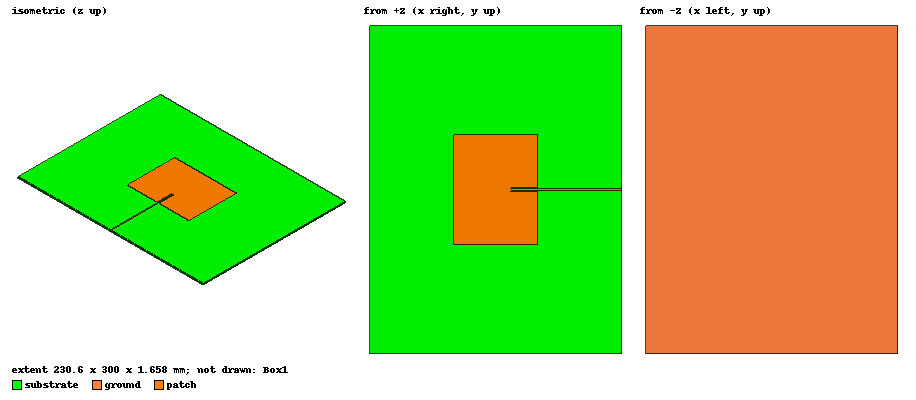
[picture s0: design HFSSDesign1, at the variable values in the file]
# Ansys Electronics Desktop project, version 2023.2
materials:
  vacuum: permittivity=1
  copper: permeability=0.999991 conductivity=58000000
  FR4_epoxy: permittivity=4.4 dielectric_loss_tangent=0.02
  air: permittivity=1.0006 permeability=1.0000004

design HFSSDesign1 (HFSS, HFSS Terminal Network, model units mm)
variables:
  Xpatch = 76.88mm
  Ypatch = 100mm
  htrac = 0.035mm
  hsub = 1.588mm
  widthTL = 1.4mm
  S = 1mm
  D = 25mm
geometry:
  ground [copper] = rectangle(corner=(0mm, 0mm, 0mm), x_size=3*Xpatch, y_size=3*Ypatch)
  ground.thicken(0.035mm)
  substrate [FR4_epoxy] = box(corner=(0mm, 0mm, htrac), size=(3*Xpatch, 3*Ypatch, hsub))
  patch [copper] = rectangle(corner=(Xpatch, Ypatch, htrac+hsub), x_size=Xpatch, y_size=Ypatch)
  patch.thicken(0.035mm)
  Transmissionline = rectangle(corner=(Xpatch*2, 1.5*Ypatch-(widthTL/2), hsub+htrac), x_size=Xpatch, y_size=widthTL)
  Transmissionline.thicken(0.035mm)
  Rectangle1 = rectangle(corner=(2*Xpatch, 1.5*Ypatch-(widthTL/2), hsub+htrac), x_size=-D, y_size=-S)
  Rectangle1.thicken(0.035mm)
  patch.subtract(Rectangle1)
  Rectangle2 = rectangle(corner=(2*Xpatch, 1.5*Ypatch+(widthTL/2), hsub+2*htrac), x_size=-D, y_size=S)
  Rectangle2.thicken(0.035mm)
  patch.subtract(Rectangle2)
  patch.unite(Transmissionline)
  Rectangle3 = rectangle(corner=(3*Xpatch, 1.5*Ypatch-(widthTL/2), 0), y_size=widthTL, z_size=hsub+ 2*htrac)
  Box1 [air] = box(corner=(-50mm, -20mm, -20mm), size=(320mm, 340mm, 50mm))
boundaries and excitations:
  Rad1: Radiation Objects=Box1
  1: Lumped Port Objects=Rectangle3 LumpedPortType=Modal Modes{Mode1{IntLine{(230.64, 149.945, 0) -> (230640mm, 149945mm, 1600mm)} CharImp=Zpi}} Impedance=50ohm
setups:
  Setup1: HfssDriven Frequency=915MHz MaxDeltaS=0.015 MaximumPasses=20 MinimumPasses=1 MinimumConvergedPasses=1 PercentRefinement=30 BasisOrder=1 PortAccuracy=2 DrivenSolverType="Direct Solver"
    sweep Sweep: 457.5MHz to 1372.5MHz, 401 points; Type=Fast SaveFields
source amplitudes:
  1:1: 1V 0deg

design Circuit1 (Circuit)
options: SParamCircuitDef IntegrationMethod=FFT
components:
  S2 = HFSSDesign2()
  C3 = CAP_(C=25.535pF)
  L4 = IND_(L=200.531nH)
  port Port1 rz=50ohm iz=0ohm EnableNoise=false noisetemp=16.85cel
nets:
  net_1: L4.1, C3.0, S2.1
  Port1: C3.1
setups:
  LinearFrequency: LinearFrequencyData(false, 0.1, false, "", false) SweepDefinition{Variable=Freq Data="LIN 600MHz 1200MHz 2MHz"}
  LinearFrequency1: LinearFrequencyData(false, 0.1, false, "", false) SweepDefinition{Variable=Freq Data="LIN 600MHz 1300MHz 0.5MHz"}
